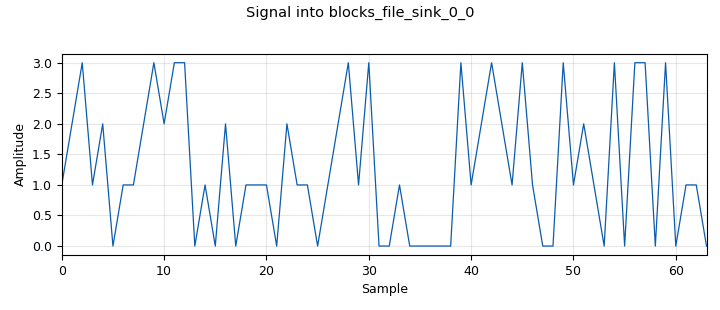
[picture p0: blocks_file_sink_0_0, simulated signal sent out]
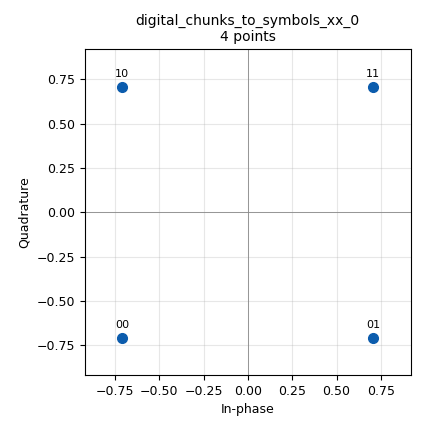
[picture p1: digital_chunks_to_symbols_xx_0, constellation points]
<?xml version='1.0' encoding='utf-8'?>
<flow_graph>
<block>
<key>options</key>
<param><key>id</key><value>fbmc_transceiver</value></param>
<param><key>title</key><value>FBMC transceiver</value></param>
<param><key>author</key><value>Felix Wunsch</value></param>
<param><key>generate_options</key><value>no_gui</value></param>
<param><key>category</key><value>Custom</value></param>
<param><key>realtime_scheduling</key><value>1</value></param>
</block>
<block>
<key>variable</key>
<param><key>id</key><value>K</value></param>
<param><key>value</key><value>4</value></param>
</block>
<block>
<key>variable</key>
<param><key>id</key><value>num_sync</value></param>
<param><key>value</key><value>0</value></param>
</block>
<block>
<key>variable</key>
<param><key>id</key><value>M</value></param>
<param><key>value</key><value>8</value></param>
</block>
<block>
<key>variable</key>
<param><key>id</key><value>variable_0</value></param>
<param><key>value</key><value>0</value></param>
</block>
<block>
<key>variable</key>
<param><key>id</key><value>output_oversampling</value></param>
<param><key>value</key><value>4</value></param>
</block>
<block>
<key>variable</key>
<param><key>id</key><value>modulation</value></param>
<param><key>value</key><value>digital.constellation_qpsk()</value></param>
</block>
<block>
<key>variable</key>
<param><key>id</key><value>L</value></param>
<param><key>value</key><value>int(2**(np.ceil(np.log2(M))))</value></param>
</block>
<block>
<key>variable</key>
<param><key>id</key><value>overlap</value></param>
<param><key>value</key><value>4</value></param>
</block>
<block>
<key>variable</key>
<param><key>id</key><value>frame_len_sym_total</value></param>
<param><key>value</key><value>K+2*overlap + num_sync</value></param>
</block>
<block>
<key>variable</key>
<param><key>id</key><value>samp_rate</value></param>
<param><key>value</key><value>50e3</value></param>
</block>
<block>
<key>virtual_sink</key>
<param><key>id</key><value>virtual_sink_0</value></param>
<param><key>stream_id</key><value>tx_signal</value></param>
</block>
<block>
<key>fbmc_output_commutator_vcc</key>
<param><key>id</key><value>fbmc_output_commutator_vcc_0</value></param>
<param><key>L</key><value>L</value></param>
</block>
<block>
<key>virtual_source</key>
<param><key>id</key><value>virtual_source_0</value></param>
<param><key>stream_id</key><value>tx_signal</value></param>
</block>
<block>
<key>fbmc_polyphase_filterbank_vcvc</key>
<param><key>id</key><value>fbmc_polyphase_filterbank_vcvc_0</value></param>
<param><key>L</key><value>L</value></param>
</block>
<block>
<key>blocks_vector_to_stream</key>
<param><key>id</key><value>blocks_vector_to_stream_0</value></param>
<param><key>_enabled</key><value>False</value></param>
<param><key>type</key><value>complex</value></param>
<param><key>num_items</key><value>L</value></param>
</block>
<block>
<key>rational_resampler_xxx</key>
<param><key>id</key><value>rational_resampler_xxx_0_0</value></param>
<param><key>_enabled</key><value>False</value></param>
<param><key>type</key><value>ccc</value></param>
<param><key>interp</key><value>output_oversampling</value></param>
<param><key>decim</key><value>1</value></param>
<param><key>taps</key><value></value></param>
</block>
<block>
<key>wxgui_fftsink2</key>
<param><key>id</key><value>wxgui_fftsink2_0_0_0</value></param>
<param><key>_enabled</key><value>False</value></param>
<param><key>type</key><value>complex</value></param>
<param><key>title</key><value>FFT of filtered RX signal</value></param>
<param><key>samp_rate</key><value>samp_rate*output_oversampling</value></param>
<param><key>baseband_freq</key><value>0</value></param>
<param><key>y_per_div</key><value>10</value></param>
<param><key>y_divs</key><value>10</value></param>
<param><key>ref_level</key><value>0</value></param>
<param><key>ref_scale</key><value>2.0</value></param>
<param><key>fft_size</key><value>L*output_oversampling*2</value></param>
<param><key>fft_rate</key><value>15</value></param>
<param><key>peak_hold</key><value>False</value></param>
<param><key>average</key><value>True</value></param>
<param><key>avg_alpha</key><value>0</value></param>
<param><key>win</key><value>None</value></param>
<param><key>freqvar</key><value>None</value></param>
</block>
<block>
<key>fft_vxx</key>
<param><key>id</key><value>fft_vxx_0_0</value></param>
<param><key>type</key><value>complex</value></param>
<param><key>fft_size</key><value>L</value></param>
<param><key>forward</key><value>False</value></param>
<param><key>window</key><value>()</value></param>
<param><key>shift</key><value>False</value></param>
</block>
<block>
<key>fft_vxx</key>
<param><key>id</key><value>fft_vxx_0</value></param>
<param><key>type</key><value>complex</value></param>
<param><key>fft_size</key><value>L</value></param>
<param><key>forward</key><value>False</value></param>
<param><key>window</key><value>()</value></param>
<param><key>shift</key><value>False</value></param>
</block>
<block>
<key>fbmc_apply_betas_vcvc</key>
<param><key>id</key><value>fbmc_apply_betas_vcvc_1_0</value></param>
<param><key>L</key><value>L</value></param>
<param><key>inverse</key><value>0</value></param>
</block>
<block>
<key>fbmc_apply_betas_vcvc</key>
<param><key>id</key><value>fbmc_apply_betas_vcvc_1</value></param>
<param><key>L</key><value>L</value></param>
<param><key>inverse</key><value>1</value></param>
</block>
<block>
<key>virtual_sink</key>
<param><key>id</key><value>virtual_sink_1</value></param>
<param><key>stream_id</key><value>rx_out</value></param>
</block>
<block>
<key>fbmc_symbols_to_bits_cb</key>
<param><key>id</key><value>fbmc_symbols_to_bits_cb_0</value></param>
</block>
<block>
<key>fbmc_input_commutator_cvc</key>
<param><key>id</key><value>fbmc_input_commutator_cvc_0</value></param>
<param><key>L</key><value>L</value></param>
</block>
<block>
<key>fbmc_polyphase_filterbank_vcvc</key>
<param><key>id</key><value>fbmc_polyphase_filterbank_vcvc_0_0</value></param>
<param><key>L</key><value>L</value></param>
</block>
<block>
<key>fbmc_serial_to_parallel_cvc</key>
<param><key>id</key><value>fbmc_serial_to_parallel_cvc_0</value></param>
<param><key>len_in</key><value>M</value></param>
<param><key>vlen_out</key><value>L</value></param>
</block>
<block>
<key>fbmc_serialize_iq_vcvc</key>
<param><key>id</key><value>fbmc_serialize_iq_vcvc_0</value></param>
<param><key>L</key><value>L</value></param>
</block>
<block>
<key>fbmc_parallel_to_serial_vcc</key>
<param><key>id</key><value>fbmc_parallel_to_serial_vcc_0</value></param>
<param><key>len_out</key><value>M</value></param>
<param><key>vlen_in</key><value>L</value></param>
</block>
<block>
<key>fbmc_combine_iq_vcvc</key>
<param><key>id</key><value>fbmc_combine_iq_vcvc_0</value></param>
<param><key>L</key><value>L</value></param>
</block>
<block>
<key>virtual_source</key>
<param><key>id</key><value>virtual_source_1</value></param>
<param><key>stream_id</key><value>rx_out</value></param>
</block>
<block>
<key>virtual_source</key>
<param><key>id</key><value>virtual_source_2</value></param>
<param><key>stream_id</key><value>tx_in</value></param>
</block>
<block>
<key>blocks_file_sink</key>
<param><key>id</key><value>blocks_file_sink_0</value></param>
<param><key>file</key><value>/home/felixwunsch/src/stuff/rx_out.bin</value></param>
<param><key>type</key><value>byte</value></param>
<param><key>unbuffered</key><value>True</value></param>
</block>
<block>
<key>blocks_file_sink</key>
<param><key>id</key><value>blocks_file_sink_0_0</value></param>
<param><key>file</key><value>/home/felixwunsch/src/stuff/tx_in.bin</value></param>
<param><key>type</key><value>byte</value></param>
<param><key>unbuffered</key><value>True</value></param>
</block>
<block>
<key>virtual_sink</key>
<param><key>id</key><value>virtual_sink_1_0</value></param>
<param><key>stream_id</key><value>tx_in</value></param>
</block>
<block>
<key>digital_chunks_to_symbols_xx</key>
<param><key>id</key><value>digital_chunks_to_symbols_xx_0</value></param>
<param><key>in_type</key><value>byte</value></param>
<param><key>out_type</key><value>complex</value></param>
<param><key>symbol_table</key><value>modulation.points()</value></param>
<param><key>dimension</key><value>1</value></param>
</block>
<block>
<key>analog_random_source_x</key>
<param><key>id</key><value>analog_random_source_x_0</value></param>
<param><key>type</key><value>byte</value></param>
<param><key>min</key><value>0</value></param>
<param><key>max</key><value>4</value></param>
<param><key>num_samps</key><value>M*10</value></param>
<param><key>repeat</key><value>True</value></param>
</block>
<block>
<key>fbmc_frame_generator_vcvc</key>
<param><key>id</key><value>fbmc_frame_generator_vcvc_0</value></param>
<param><key>sym_len</key><value>L</value></param>
<param><key>num_payload</key><value>K</value></param>
<param><key>inverse</key><value>0</value></param>
<param><key>num_overlap</key><value>overlap</value></param>
<param><key>num_sync</key><value>num_sync</value></param>
</block>
<block>
<key>fbmc_frame_generator_vcvc</key>
<param><key>id</key><value>fbmc_frame_generator_vcvc_1</value></param>
<param><key>sym_len</key><value>L</value></param>
<param><key>num_payload</key><value>K</value></param>
<param><key>inverse</key><value>1</value></param>
<param><key>num_overlap</key><value>overlap</value></param>
<param><key>num_sync</key><value>num_sync</value></param>
</block>
<block>
<key>import</key>
<param><key>id</key><value>import_0</value></param>
<param><key>import</key><value>import numpy as np</value></param>
</block>
<block>
<key>wxgui_fftsink2</key>
<param><key>id</key><value>wxgui_fftsink2_0_0</value></param>
<param><key>_enabled</key><value>False</value></param>
<param><key>type</key><value>complex</value></param>
<param><key>title</key><value>FFT of TX signal</value></param>
<param><key>samp_rate</key><value>samp_rate*output_oversampling</value></param>
<param><key>baseband_freq</key><value>0</value></param>
<param><key>y_per_div</key><value>10</value></param>
<param><key>y_divs</key><value>10</value></param>
<param><key>ref_level</key><value>0</value></param>
<param><key>ref_scale</key><value>2.0</value></param>
<param><key>fft_size</key><value>L*output_oversampling*2</value></param>
<param><key>fft_rate</key><value>15</value></param>
<param><key>peak_hold</key><value>False</value></param>
<param><key>average</key><value>True</value></param>
<param><key>avg_alpha</key><value>0</value></param>
<param><key>win</key><value>None</value></param>
<param><key>freqvar</key><value>None</value></param>
</block>
<block>
<key>rational_resampler_xxx</key>
<param><key>id</key><value>rational_resampler_xxx_0</value></param>
<param><key>_enabled</key><value>False</value></param>
<param><key>type</key><value>ccc</value></param>
<param><key>interp</key><value>output_oversampling</value></param>
<param><key>decim</key><value>1</value></param>
<param><key>taps</key><value></value></param>
</block>
<block>
<key>blocks_throttle</key>
<param><key>id</key><value>blocks_throttle_0</value></param>
<param><key>type</key><value>byte</value></param>
<param><key>samples_per_second</key><value>samp_rate</value></param>
</block>
<connection><source_block_id>digital_chunks_to_symbols_xx_0</source_block_id><sink_block_id>fbmc_serial_to_parallel_cvc_0</sink_block_id><source_key>0</source_key><sink_key>0</sink_key></connection>
<connection><source_block_id>fbmc_polyphase_filterbank_vcvc_0</source_block_id><sink_block_id>fbmc_output_commutator_vcc_0</sink_block_id><source_key>0</source_key><sink_key>0</sink_key></connection>
<connection><source_block_id>fbmc_serial_to_parallel_cvc_0</source_block_id><sink_block_id>fbmc_frame_generator_vcvc_0</sink_block_id><source_key>0</source_key><sink_key>0</sink_key></connection>
<connection><source_block_id>fbmc_frame_generator_vcvc_0</source_block_id><sink_block_id>fbmc_serialize_iq_vcvc_0</sink_block_id><source_key>0</source_key><sink_key>0</sink_key></connection>
<connection><source_block_id>fft_vxx_0</source_block_id><sink_block_id>fbmc_polyphase_filterbank_vcvc_0</sink_block_id><source_key>0</source_key><sink_key>0</sink_key></connection>
<connection><source_block_id>fbmc_output_commutator_vcc_0</source_block_id><sink_block_id>virtual_sink_0</sink_block_id><source_key>0</source_key><sink_key>0</sink_key></connection>
<connection><source_block_id>virtual_source_0</source_block_id><sink_block_id>fbmc_input_commutator_cvc_0</sink_block_id><source_key>0</source_key><sink_key>0</sink_key></connection>
<connection><source_block_id>fbmc_input_commutator_cvc_0</source_block_id><sink_block_id>fbmc_polyphase_filterbank_vcvc_0_0</sink_block_id><source_key>0</source_key><sink_key>0</sink_key></connection>
<connection><source_block_id>fbmc_polyphase_filterbank_vcvc_0_0</source_block_id><sink_block_id>fft_vxx_0_0</sink_block_id><source_key>0</source_key><sink_key>0</sink_key></connection>
<connection><source_block_id>rational_resampler_xxx_0_0</source_block_id><sink_block_id>wxgui_fftsink2_0_0_0</sink_block_id><source_key>0</source_key><sink_key>0</sink_key></connection>
<connection><source_block_id>fbmc_polyphase_filterbank_vcvc_0_0</source_block_id><sink_block_id>blocks_vector_to_stream_0</sink_block_id><source_key>0</source_key><sink_key>0</sink_key></connection>
<connection><source_block_id>blocks_vector_to_stream_0</source_block_id><sink_block_id>rational_resampler_xxx_0_0</sink_block_id><source_key>0</source_key><sink_key>0</sink_key></connection>
<connection><source_block_id>fft_vxx_0_0</source_block_id><sink_block_id>fbmc_apply_betas_vcvc_1</sink_block_id><source_key>0</source_key><sink_key>0</sink_key></connection>
<connection><source_block_id>fbmc_serialize_iq_vcvc_0</source_block_id><sink_block_id>fbmc_apply_betas_vcvc_1_0</sink_block_id><source_key>0</source_key><sink_key>0</sink_key></connection>
<connection><source_block_id>fbmc_apply_betas_vcvc_1_0</source_block_id><sink_block_id>fft_vxx_0</sink_block_id><source_key>0</source_key><sink_key>0</sink_key></connection>
<connection><source_block_id>fbmc_apply_betas_vcvc_1</source_block_id><sink_block_id>fbmc_combine_iq_vcvc_0</sink_block_id><source_key>0</source_key><sink_key>0</sink_key></connection>
<connection><source_block_id>fbmc_parallel_to_serial_vcc_0</source_block_id><sink_block_id>fbmc_symbols_to_bits_cb_0</sink_block_id><source_key>0</source_key><sink_key>0</sink_key></connection>
<connection><source_block_id>fbmc_symbols_to_bits_cb_0</source_block_id><sink_block_id>virtual_sink_1</sink_block_id><source_key>0</source_key><sink_key>0</sink_key></connection>
<connection><source_block_id>fbmc_frame_generator_vcvc_1</source_block_id><sink_block_id>fbmc_parallel_to_serial_vcc_0</sink_block_id><source_key>0</source_key><sink_key>0</sink_key></connection>
<connection><source_block_id>fbmc_combine_iq_vcvc_0</source_block_id><sink_block_id>fbmc_frame_generator_vcvc_1</sink_block_id><source_key>0</source_key><sink_key>0</sink_key></connection>
<connection><source_block_id>virtual_source_1</source_block_id><sink_block_id>blocks_file_sink_0</sink_block_id><source_key>0</source_key><sink_key>0</sink_key></connection>
<connection><source_block_id>virtual_source_2</source_block_id><sink_block_id>blocks_file_sink_0_0</sink_block_id><source_key>0</source_key><sink_key>0</sink_key></connection>
<connection><source_block_id>analog_random_source_x_0</source_block_id><sink_block_id>virtual_sink_1_0</sink_block_id><source_key>0</source_key><sink_key>0</sink_key></connection>
<connection><source_block_id>fbmc_output_commutator_vcc_0</source_block_id><sink_block_id>rational_resampler_xxx_0</sink_block_id><source_key>0</source_key><sink_key>0</sink_key></connection>
<connection><source_block_id>rational_resampler_xxx_0</source_block_id><sink_block_id>wxgui_fftsink2_0_0</sink_block_id><source_key>0</source_key><sink_key>0</sink_key></connection>
<connection><source_block_id>blocks_throttle_0</source_block_id><sink_block_id>digital_chunks_to_symbols_xx_0</sink_block_id><source_key>0</source_key><sink_key>0</sink_key></connection>
<connection><source_block_id>analog_random_source_x_0</source_block_id><sink_block_id>blocks_throttle_0</sink_block_id><source_key>0</source_key><sink_key>0</sink_key></connection>
</flow_graph>
